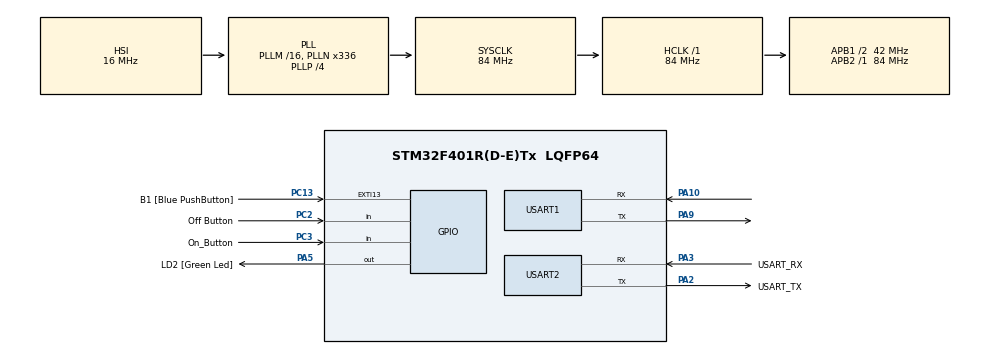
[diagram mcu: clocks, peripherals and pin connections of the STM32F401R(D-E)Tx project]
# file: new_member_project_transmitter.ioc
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Mcu.Family=STM32F4
Mcu.Name=STM32F401R(D-E)Tx
Mcu.Package=LQFP64
NVIC.PriorityGroup=NVIC_PRIORITYGROUP_0
PA10.Mode=Asynchronous
PA10.Signal=USART1_RX
PA13.GPIO_Label=TMS
PA13.Mode=Serial_Wire
PA13.Signal=SYS_JTMS-SWDIO
PA14.GPIO_Label=TCK
PA14.Mode=Serial_Wire
PA14.Signal=SYS_JTCK-SWCLK
PA2.GPIO_Label=USART_TX
PA2.GPIO_Mode=GPIO_MODE_AF_PP
PA2.GPIO_PuPd=GPIO_NOPULL
PA2.GPIO_Speed=GPIO_SPEED_FREQ_LOW
PA2.Mode=Asynchronous
PA2.Signal=USART2_TX
PA3.GPIO_Label=USART_RX
PA3.GPIO_Mode=GPIO_MODE_AF_PP
PA3.GPIO_PuPd=GPIO_NOPULL
PA3.GPIO_Speed=GPIO_SPEED_FREQ_LOW
PA3.Mode=Asynchronous
PA3.Signal=USART2_RX
PA5.GPIO_Label=LD2 [Green Led]
PA5.GPIO_Mode=GPIO_MODE_OUTPUT_PP
PA5.GPIO_PuPd=GPIO_NOPULL
PA5.GPIO_Speed=GPIO_SPEED_FREQ_LOW
PA5.Signal=GPIO_Output
PA9.Mode=Asynchronous
PA9.Signal=USART1_TX
PB3.GPIO_Label=SWO
PB3.Signal=SYS_JTDO-SWO
PC13-ANTI_TAMP.GPIO_Label=B1 [Blue PushButton]
PC13-ANTI_TAMP.GPIO_ModeDefaultEXTI=GPIO_MODE_IT_FALLING
PC13-ANTI_TAMP.GPIO_PuPd=GPIO_NOPULL
PC13-ANTI_TAMP.Signal=GPXTI13
PC14-OSC32_IN.Mode=LSE-External-Oscillator
PC14-OSC32_IN.Signal=RCC_OSC32_IN
PC15-OSC32_OUT.Mode=LSE-External-Oscillator
PC15-OSC32_OUT.Signal=RCC_OSC32_OUT
PC2.GPIO_Label=Off Button
PC2.GPIO_PuPd=GPIO_PULLUP
PC2.Signal=GPIO_Input
PC3.GPIO_Label=On_Button
PC3.GPIO_PuPd=GPIO_PULLUP
PC3.Signal=GPIO_Input
PH0\ -\ OSC_IN.Mode=HSE-External-Clock-Source
PH0\ -\ OSC_IN.Signal=RCC_OSC_IN
PH1\ -\ OSC_OUT.Mode=HSE-External-Clock-Source
PH1\ -\ OSC_OUT.Signal=RCC_OSC_OUT
ProjectManager.HeapSize=0x200
ProjectManager.StackSize=0x400
ProjectManager.TargetToolchain=STM32CubeIDE
RCC.48MHZClocksFreq_Value=48000000
RCC.AHBFreq_Value=84000000
RCC.APB1CLKDivider=RCC_HCLK_DIV2
RCC.APB1Freq_Value=42000000
RCC.APB1TimFreq_Value=84000000
RCC.APB2Freq_Value=84000000
RCC.APB2TimFreq_Value=84000000
RCC.CortexFreq_Value=84000000
RCC.HCLKFreq_Value=84000000
RCC.HSE_VALUE=8000000
RCC.HSI_VALUE=16000000
RCC.PLLN=336
RCC.PLLP=RCC_PLLP_DIV4
RCC.PLLQ=7
RCC.SYSCLKFreq_VALUE=84000000
RCC.SYSCLKSource=RCC_SYSCLKSOURCE_PLLCLK
RCC.VCOOutputFreq_Value=336000000
USART1.VirtualMode=VM_ASYNC
USART2.VirtualMode=VM_ASYNC
board=NUCLEO-F401RE

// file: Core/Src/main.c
/* USER CODE BEGIN Header */
/**
  ******************************************************************************
  * @file           : main.c
  * @brief          : Main program body
  ******************************************************************************
  * @attention
  *
  * Copyright (c) 2024 STMicroelectronics.
  * All rights reserved.
  *
  * This software is licensed under terms that can be found in the LICENSE file
  * in the root directory of this software component.
  * If no LICENSE file comes with this software, it is provided AS-IS.
  *
  ******************************************************************************
  */
/* USER CODE END Header */
#include "main.h"

/* USER CODE BEGIN Includes */
#include <stdbool.h>
/* USER CODE END Includes */

UART_HandleTypeDef huart1;
UART_HandleTypeDef huart2;

/* USER CODE BEGIN PV */
bool prev_on_switch_status = false;
bool prev_off_switch_status = false;
/* USER CODE END PV */

void SystemClock_Config(void);
static void MX_GPIO_Init(void);
static void MX_USART2_UART_Init(void);
static void MX_USART1_UART_Init(void);

/* USER CODE BEGIN 0 */
void tick_on_button() {
	bool curr_switch_status = HAL_GPIO_ReadPin(
			On_Button_GPIO_Port, On_Button_Pin);
	if (prev_on_switch_status == false && !curr_switch_status) {
		HAL_GPIO_WritePin(
				LD2_GPIO_Port, LD2_Pin, GPIO_PIN_SET);
		uint8_t on_signal[] = {0};
		HAL_UART_Transmit(&huart1, on_signal, 1, 10);
		prev_on_switch_status = true;
	}
	else if (!curr_switch_status) {
		HAL_GPIO_WritePin(
						LD2_GPIO_Port, LD2_Pin, GPIO_PIN_RESET);
		prev_on_switch_status = true;
	}
	else {
		HAL_GPIO_WritePin(
				LD2_GPIO_Port, LD2_Pin, GPIO_PIN_RESET);
		prev_on_switch_status = false;
	}
	HAL_Delay(30);
}

void tick_off_button() {
	bool curr_switch_status = HAL_GPIO_ReadPin(
			Off_Button_GPIO_Port, Off_Button_Pin);
	if (prev_off_switch_status == false && !curr_switch_status) {
		HAL_GPIO_WritePin(
				LD2_GPIO_Port, LD2_Pin, GPIO_PIN_SET);
		uint8_t off_signal[] = {1};
		HAL_UART_Transmit(&huart1, off_signal, 1, 10);
		prev_off_switch_status = true;
	}
	else if (!curr_switch_status) {
		HAL_GPIO_WritePin(
						LD2_GPIO_Port, LD2_Pin, GPIO_PIN_RESET);
		prev_off_switch_status = true;
	}
	else {
		HAL_GPIO_WritePin(
				LD2_GPIO_Port, LD2_Pin, GPIO_PIN_RESET);
		prev_off_switch_status = false;
	}
	HAL_Delay(30);
}
/* USER CODE END 0 */

int main(void)
{

  /* MCU Configuration--------------------------------------------------------*/

  /* Reset of all peripherals, Initializes the Flash interface and the Systick. */
  HAL_Init();

  /* Configure the system clock */
  SystemClock_Config();

  /* Initialize all configured peripherals */
  MX_GPIO_Init();
  MX_USART2_UART_Init();
  MX_USART1_UART_Init();

  /* Infinite loop */
  /* USER CODE BEGIN WHILE */
  while (1)
  {
	  tick_on_button();
	  tick_off_button();
    /* USER CODE END WHILE */

  }
}

void SystemClock_Config(void)
{
  RCC_OscInitTypeDef RCC_OscInitStruct = {0};
  RCC_ClkInitTypeDef RCC_ClkInitStruct = {0};

  /** Configure the main internal regulator output voltage
  */
  __HAL_RCC_PWR_CLK_ENABLE();
  __HAL_PWR_VOLTAGESCALING_CONFIG(PWR_REGULATOR_VOLTAGE_SCALE2);

  /** Initializes the RCC Oscillators according to the specified parameters
  * in the RCC_OscInitTypeDef structure.
  */
  RCC_OscInitStruct.OscillatorType = RCC_OSCILLATORTYPE_HSI;
  RCC_OscInitStruct.HSIState = RCC_HSI_ON;
  RCC_OscInitStruct.HSICalibrationValue = RCC_HSICALIBRATION_DEFAULT;
  RCC_OscInitStruct.PLL.PLLState = RCC_PLL_ON;
  RCC_OscInitStruct.PLL.PLLSource = RCC_PLLSOURCE_HSI;
  RCC_OscInitStruct.PLL.PLLM = 16;
  RCC_OscInitStruct.PLL.PLLN = 336;
  RCC_OscInitStruct.PLL.PLLP = RCC_PLLP_DIV4;
  RCC_OscInitStruct.PLL.PLLQ = 7;
  if (HAL_RCC_OscConfig(&RCC_OscInitStruct) != HAL_OK)
  {
    Error_Handler();
  }

  /** Initializes the CPU, AHB and APB buses clocks
  */
  RCC_ClkInitStruct.ClockType = RCC_CLOCKTYPE_HCLK|RCC_CLOCKTYPE_SYSCLK
                              |RCC_CLOCKTYPE_PCLK1|RCC_CLOCKTYPE_PCLK2;
  RCC_ClkInitStruct.SYSCLKSource = RCC_SYSCLKSOURCE_PLLCLK;
  RCC_ClkInitStruct.AHBCLKDivider = RCC_SYSCLK_DIV1;
  RCC_ClkInitStruct.APB1CLKDivider = RCC_HCLK_DIV2;
  RCC_ClkInitStruct.APB2CLKDivider = RCC_HCLK_DIV1;

  if (HAL_RCC_ClockConfig(&RCC_ClkInitStruct, FLASH_LATENCY_2) != HAL_OK)
  {
    Error_Handler();
  }
}

static void MX_USART1_UART_Init(void)
{

  huart1.Instance = USART1;
  huart1.Init.BaudRate = 115200;
  huart1.Init.WordLength = UART_WORDLENGTH_8B;
  huart1.Init.StopBits = UART_STOPBITS_1;
  huart1.Init.Parity = UART_PARITY_NONE;
  huart1.Init.Mode = UART_MODE_TX_RX;
  huart1.Init.HwFlowCtl = UART_HWCONTROL_NONE;
  huart1.Init.OverSampling = UART_OVERSAMPLING_16;
  if (HAL_UART_Init(&huart1) != HAL_OK)
  {
    Error_Handler();
  }

}

static void MX_USART2_UART_Init(void)
{

  huart2.Instance = USART2;
  huart2.Init.BaudRate = 115200;
  huart2.Init.WordLength = UART_WORDLENGTH_8B;
  huart2.Init.StopBits = UART_STOPBITS_1;
  huart2.Init.Parity = UART_PARITY_NONE;
  huart2.Init.Mode = UART_MODE_TX_RX;
  huart2.Init.HwFlowCtl = UART_HWCONTROL_NONE;
  huart2.Init.OverSampling = UART_OVERSAMPLING_16;
  if (HAL_UART_Init(&huart2) != HAL_OK)
  {
    Error_Handler();
  }

}

static void MX_GPIO_Init(void)
{
  GPIO_InitTypeDef GPIO_InitStruct = {0};

  /* GPIO Ports Clock Enable */
  __HAL_RCC_GPIOC_CLK_ENABLE();
  __HAL_RCC_GPIOH_CLK_ENABLE();
  __HAL_RCC_GPIOA_CLK_ENABLE();
  __HAL_RCC_GPIOB_CLK_ENABLE();

  /*Configure GPIO pin Output Level */
  HAL_GPIO_WritePin(LD2_GPIO_Port, LD2_Pin, GPIO_PIN_RESET);

  /*Configure GPIO pin : B1_Pin */
  GPIO_InitStruct.Pin = B1_Pin;
  GPIO_InitStruct.Mode = GPIO_MODE_IT_FALLING;
  GPIO_InitStruct.Pull = GPIO_NOPULL;
  HAL_GPIO_Init(B1_GPIO_Port, &GPIO_InitStruct);

  /*Configure GPIO pins : Off_Button_Pin On_Button_Pin */
  GPIO_InitStruct.Pin = Off_Button_Pin|On_Button_Pin;
  GPIO_InitStruct.Mode = GPIO_MODE_INPUT;
  GPIO_InitStruct.Pull = GPIO_PULLUP;
  HAL_GPIO_Init(GPIOC, &GPIO_InitStruct);

  /*Configure GPIO pin : LD2_Pin */
  GPIO_InitStruct.Pin = LD2_Pin;
  GPIO_InitStruct.Mode = GPIO_MODE_OUTPUT_PP;
  GPIO_InitStruct.Pull = GPIO_NOPULL;
  GPIO_InitStruct.Speed = GPIO_SPEED_FREQ_LOW;
  HAL_GPIO_Init(LD2_GPIO_Port, &GPIO_InitStruct);

}

void Error_Handler(void)
{
  __disable_irq();
  while (1)
  {
  }
}
